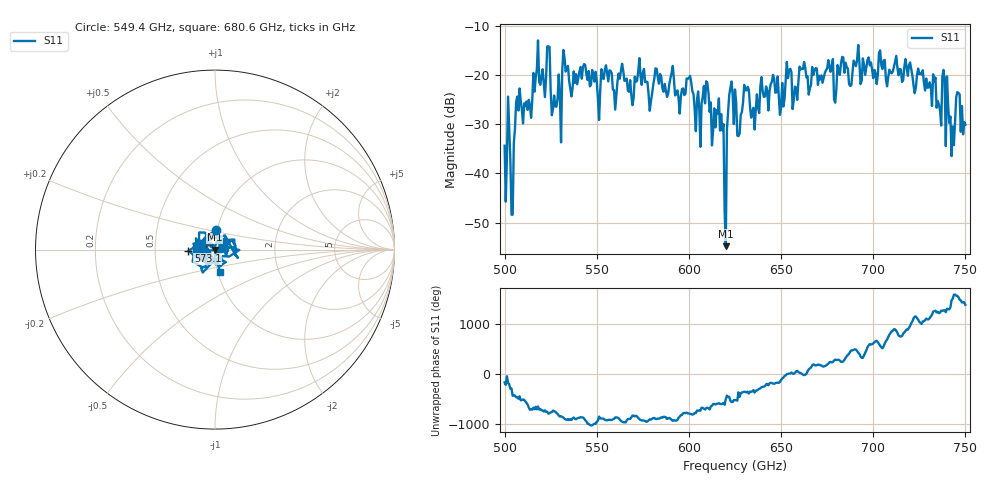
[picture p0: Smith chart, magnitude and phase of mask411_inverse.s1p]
!Created with skrf (http://scikit-rf.org).
# GHz S MA R 50.0
!freq magS11 angS11
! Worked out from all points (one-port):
!   401 points, 500 GHz to 750 GHz, reference 50 ohm
!   lowest |S11| = -54.8 dB at 620 GHz (marker M1), VSWR 1.00, Z = 49.9 - j0.119 ohm
!   |S11| at or under -10 dB: start of sweep to end of sweep
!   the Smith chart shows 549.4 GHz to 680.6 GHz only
!   S11 on the Smith chart (normalised r, x): 549.4 GHz: 0.99, +0.21; 573.1 GHz: 0.74, -0.01; 680.6 GHz: 1.02, -0.26
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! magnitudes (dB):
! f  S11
! 500 GHz  -34.4
! 504.4 GHz  -48.4
! 507.5 GHz  -27.2
! 513.8 GHz  -26.2
! 516.9 GHz  -20.6
! 523.8 GHz  -14.2
! 526.9 GHz  -24.2
! 531.2 GHz  -19.3
! 549.4 GHz  -19.4
! 562.5 GHz  -20.8
! 573.1 GHz  -16.6
! 593.8 GHz  -23.1
! 600 GHz  -20.7
! 605 GHz  -23.4
! 609.4 GHz  -21.3
! 617.5 GHz  -28.0
! 618.8 GHz  -30.0
! 620 GHz  -54.8
! 621.9 GHz  -24.1
! 625 GHz  -23.0
! 656.2 GHz  -26.9
! 680.6 GHz  -18.0
! 687.5 GHz  -22.2
! 718.8 GHz  -20.2
! 738.8 GHz  -21.2
! 742.5 GHz  -36.5
! 745.6 GHz  -23.5
! 750 GHz  -30.1
